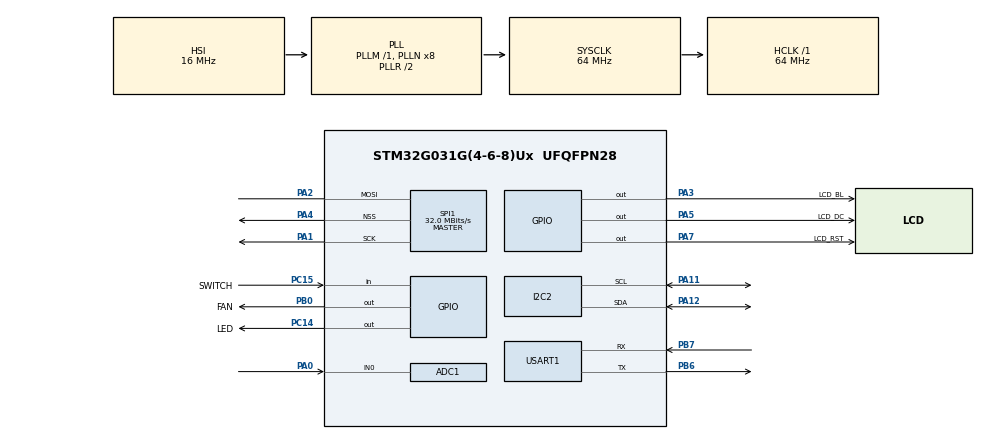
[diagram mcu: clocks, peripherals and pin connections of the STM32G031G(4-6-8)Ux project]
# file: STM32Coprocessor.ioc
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ADC1.Channel-0\#ChannelRegularConversion=ADC_CHANNEL_0
ADC1.ClockPrescaler=ADC_CLOCK_SYNC_PCLK_DIV4
ADC1.NbrOfConversionFlag=1
ADC1.Rank-0\#ChannelRegularConversion=1
ADC1.SamplingTime-0\#ChannelRegularConversion=ADC_SAMPLINGTIME_COMMON_1
ADC1.SamplingTimeCommon1=ADC_SAMPLETIME_160CYCLES_5
ADC1.SamplingTimeCommon2=ADC_SAMPLETIME_160CYCLES_5
ADC1.SelectedChannel=ADC_CHANNEL_0
ADC1.master=1
I2C2.DualAddressMode=I2C_DUALADDRESS_DISABLE
I2C2.OwnAddress=66
I2C2.Timing=0x10B17DB5
Mcu.Family=STM32G0
Mcu.Name=STM32G031G(4-6-8)Ux
Mcu.Package=UFQFPN28
NVIC.I2C2_IRQn=true\:0\:0\:false\:false\:true\:true\:true\:true
NVIC.SPI1_IRQn=true\:0\:0\:false\:false\:true\:true\:true\:true
NVIC.USART1_IRQn=true\:0\:0\:false\:false\:true\:true\:true\:true
PA0.Mode=IN0
PA0.Signal=ADC1_IN0
PA1.GPIO_Speed=GPIO_SPEED_FREQ_VERY_HIGH
PA1.Mode=Simplex_Bidirectional_Master
PA1.Signal=SPI1_SCK
PA11\ [PA9].Mode=I2C
PA11\ [PA9].Signal=I2C2_SCL
PA12\ [PA10].Mode=I2C
PA12\ [PA10].Signal=I2C2_SDA
PA13.Mode=Serial_Wire
PA13.Signal=SYS_SWDIO
PA14-BOOT0.Mode=Serial_Wire
PA14-BOOT0.Signal=SYS_SWCLK
PA2.GPIO_Speed=GPIO_SPEED_FREQ_VERY_HIGH
PA2.Mode=Simplex_Bidirectional_Master
PA2.Signal=SPI1_MOSI
PA3.GPIO_Label=LCD_BL
PA3.GPIO_Speed=GPIO_SPEED_FREQ_MEDIUM
PA3.Signal=GPIO_Output
PA4.GPIO_Speed=GPIO_SPEED_FREQ_VERY_HIGH
PA4.Mode=NSS_Signal_Hard_Output
PA4.Signal=SPI1_NSS
PA5.GPIO_Label=LCD_DC
PA5.GPIO_Speed=GPIO_SPEED_FREQ_MEDIUM
PA5.Signal=GPIO_Output
PA7.GPIO_Label=LCD_RST
PA7.GPIO_Speed=GPIO_SPEED_FREQ_MEDIUM
PA7.Signal=GPIO_Output
PB0.GPIO_Label=FAN
PB0.Signal=GPIO_Output
PB6.Mode=Asynchronous
PB6.Signal=USART1_TX
PB7.Mode=Asynchronous
PB7.Signal=USART1_RX
PC14-OSC32_IN\ (PC14).GPIO_Label=LED
PC14-OSC32_IN\ (PC14).Signal=GPIO_Output
PC15-OSC32_OUT\ (PC15).GPIO_Label=SWITCH
PC15-OSC32_OUT\ (PC15).Signal=GPIO_Input
ProjectManager.HeapSize=0x200
ProjectManager.StackSize=0x400
ProjectManager.TargetToolchain=CMake
RCC.ADCFreq_Value=64000000
RCC.AHBFreq_Value=64000000
RCC.CortexFreq_Value=64000000
RCC.EXTERNAL_CLOCK_VALUE=12288000
RCC.HCLKFreq_Value=64000000
RCC.HSE_VALUE=8000000
RCC.HSI_VALUE=16000000
RCC.LSE_VALUE=32768
RCC.SYSCLKFreq_VALUE=64000000
RCC.SYSCLKSource=RCC_SYSCLKSOURCE_PLLCLK
RCC.VCOOutputFreq_Value=128000000
SPI1.CalculateBaudRate=32.0 MBits/s
SPI1.Direction=SPI_DIRECTION_1LINE
SPI1.Mode=SPI_MODE_MASTER
SPI1.NSSPMode=SPI_NSS_PULSE_ENABLE
SPI1.VirtualNSS=VM_NSSHARD
SPI1.VirtualType=VM_MASTER
USART1.VirtualMode-Asynchronous=VM_ASYNC
board=custom

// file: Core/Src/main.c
/* USER CODE BEGIN Header */
/**
  ******************************************************************************
  * @file           : main.c
  * @brief          : Main program body
  ******************************************************************************
  * @attention
  *
  * Copyright (c) 2025 STMicroelectronics.
  * All rights reserved.
  *
  * This software is licensed under terms that can be found in the LICENSE file
  * in the root directory of this software component.
  * If no LICENSE file comes with this software, it is provided AS-IS.
  *
  ******************************************************************************
  */
/* USER CODE END Header */
#include "main.h"

/* USER CODE BEGIN Includes */
#include "lcd.h"
#include "stm32g0xx_hal.h"
#include "stm32g0xx_hal_gpio.h"
#include "stm32g0xx_hal_i2c.h"
#include "stm32g0xx_hal_uart.h"
#include <stdint.h>

/* USER CODE END Includes */

/* USER CODE BEGIN PD */
#define PACKET_SIZE 8
#define RING_BUFFER_CAPACITY (PACKET_SIZE * 10)
#define HEADER_DATA 0xFF

#define BATTERY_FULL_VOLTAGE 4200
#define BATTERY_EMPTY_VOLTAGE 3500
#define ADC_VREF 3220
#define VOLTAGE_DIVIDER_RATIO 43/33

#define DATA_SOURCE_USART 0x00
#define DATA_SOURCE_I2C 0x01

/* USER CODE END PD */

ADC_HandleTypeDef hadc1;

I2C_HandleTypeDef hi2c2;

SPI_HandleTypeDef hspi1;

UART_HandleTypeDef huart1;

/* USER CODE BEGIN PV */
uint8_t ring_buffer[RING_BUFFER_CAPACITY];
uint16_t ring_buffer_head = 0;
uint16_t ring_buffer_tail = 0;
uint16_t ring_buffer_available = 0;
uint8_t rx_data[PACKET_SIZE];

uint8_t update_display = 0;

uint8_t hr = 0;
uint8_t hrv = 0;
uint8_t pressure = 0;
uint8_t emotion = 0;
uint8_t eyemotion = 0;
uint8_t reliability = 0;
uint8_t battery_level = 0;

uint8_t bootstr[] = "Boot Successful!\n";

uint8_t liney[] = {5, 40, 75, 110, 145, 180};
uint8_t columnx[] = {10, 90, 160, 160};
/* USER CODE END PV */

void SystemClock_Config(void);
static void MX_GPIO_Init(void);
static void MX_SPI1_Init(void);
static void MX_USART1_UART_Init(void);
static void MX_ADC1_Init(void);
static void MX_I2C2_Init(void);
/* USER CODE BEGIN PFP */
void Test_Perips(void);
void System_Init(void);
void Draw_UI(void);
void HandleRXData(uint8_t *rxdata, uint8_t data_source);
void Update_Display(void);
uint8_t Read_Battery_Level(void);
void Enter_Sleep_Mode(void);
void Exit_Sleep_Mode(void);

/* USER CODE END PFP */

int main(void)
{

  /* MCU Configuration--------------------------------------------------------*/

  /* Reset of all peripherals, Initializes the Flash interface and the Systick. */
  HAL_Init();

  /* Configure the system clock */
  SystemClock_Config();

  /* Initialize all configured peripherals */
  MX_GPIO_Init();
  MX_SPI1_Init();
  MX_USART1_UART_Init();
  MX_ADC1_Init();
  MX_I2C2_Init();
  /* USER CODE BEGIN 2 */
  Test_Perips();
  System_Init();
  /* USER CODE END 2 */

  /* Infinite loop */
  while (1)
  {

    /* USER CODE BEGIN 3 */
    if (update_display) {
      HAL_GPIO_WritePin(LED_GPIO_Port, LED_Pin, GPIO_PIN_RESET);
      Update_Display();
      HAL_GPIO_WritePin(LED_GPIO_Port, LED_Pin, GPIO_PIN_SET);
      update_display = 0;
    }
  }
  /* USER CODE END 3 */
}

void SystemClock_Config(void)
{
  RCC_OscInitTypeDef RCC_OscInitStruct = {0};
  RCC_ClkInitTypeDef RCC_ClkInitStruct = {0};

  /** Configure the main internal regulator output voltage
  */
  HAL_PWREx_ControlVoltageScaling(PWR_REGULATOR_VOLTAGE_SCALE1);

  /** Initializes the RCC Oscillators according to the specified parameters
  * in the RCC_OscInitTypeDef structure.
  */
  RCC_OscInitStruct.OscillatorType = RCC_OSCILLATORTYPE_HSI;
  RCC_OscInitStruct.HSIState = RCC_HSI_ON;
  RCC_OscInitStruct.HSIDiv = RCC_HSI_DIV1;
  RCC_OscInitStruct.HSICalibrationValue = RCC_HSICALIBRATION_DEFAULT;
  RCC_OscInitStruct.PLL.PLLState = RCC_PLL_ON;
  RCC_OscInitStruct.PLL.PLLSource = RCC_PLLSOURCE_HSI;
  RCC_OscInitStruct.PLL.PLLM = RCC_PLLM_DIV1;
  RCC_OscInitStruct.PLL.PLLN = 8;
  RCC_OscInitStruct.PLL.PLLP = RCC_PLLP_DIV2;
  RCC_OscInitStruct.PLL.PLLQ = RCC_PLLQ_DIV2;
  RCC_OscInitStruct.PLL.PLLR = RCC_PLLR_DIV2;
  if (HAL_RCC_OscConfig(&RCC_OscInitStruct) != HAL_OK)
  {
    Error_Handler();
  }

  /** Initializes the CPU, AHB and APB buses clocks
  */
  RCC_ClkInitStruct.ClockType = RCC_CLOCKTYPE_HCLK|RCC_CLOCKTYPE_SYSCLK
                              |RCC_CLOCKTYPE_PCLK1;
  RCC_ClkInitStruct.SYSCLKSource = RCC_SYSCLKSOURCE_PLLCLK;
  RCC_ClkInitStruct.AHBCLKDivider = RCC_SYSCLK_DIV1;
  RCC_ClkInitStruct.APB1CLKDivider = RCC_HCLK_DIV1;

  if (HAL_RCC_ClockConfig(&RCC_ClkInitStruct, FLASH_LATENCY_2) != HAL_OK)
  {
    Error_Handler();
  }
}

static void MX_ADC1_Init(void)
{

  ADC_ChannelConfTypeDef sConfig = {0};

  /** Configure the global features of the ADC (Clock, Resolution, Data Alignment and number of conversion)
  */
  hadc1.Instance = ADC1;
  hadc1.Init.ClockPrescaler = ADC_CLOCK_SYNC_PCLK_DIV4;
  hadc1.Init.Resolution = ADC_RESOLUTION_12B;
  hadc1.Init.DataAlign = ADC_DATAALIGN_RIGHT;
  hadc1.Init.ScanConvMode = ADC_SCAN_DISABLE;
  hadc1.Init.EOCSelection = ADC_EOC_SINGLE_CONV;
  hadc1.Init.LowPowerAutoWait = DISABLE;
  hadc1.Init.LowPowerAutoPowerOff = DISABLE;
  hadc1.Init.ContinuousConvMode = DISABLE;
  hadc1.Init.NbrOfConversion = 1;
  hadc1.Init.DiscontinuousConvMode = DISABLE;
  hadc1.Init.ExternalTrigConv = ADC_SOFTWARE_START;
  hadc1.Init.ExternalTrigConvEdge = ADC_EXTERNALTRIGCONVEDGE_NONE;
  hadc1.Init.DMAContinuousRequests = DISABLE;
  hadc1.Init.Overrun = ADC_OVR_DATA_PRESERVED;
  hadc1.Init.SamplingTimeCommon1 = ADC_SAMPLETIME_160CYCLES_5;
  hadc1.Init.SamplingTimeCommon2 = ADC_SAMPLETIME_160CYCLES_5;
  hadc1.Init.OversamplingMode = DISABLE;
  hadc1.Init.TriggerFrequencyMode = ADC_TRIGGER_FREQ_HIGH;
  if (HAL_ADC_Init(&hadc1) != HAL_OK)
  {
    Error_Handler();
  }

  /** Configure Regular Channel
  */
  sConfig.Channel = ADC_CHANNEL_0;
  sConfig.Rank = ADC_REGULAR_RANK_1;
  sConfig.SamplingTime = ADC_SAMPLINGTIME_COMMON_1;
  if (HAL_ADC_ConfigChannel(&hadc1, &sConfig) != HAL_OK)
  {
    Error_Handler();
  }

}

static void MX_I2C2_Init(void)
{

  hi2c2.Instance = I2C2;
  hi2c2.Init.Timing = 0x10B17DB5;
  hi2c2.Init.OwnAddress1 = 132;
  hi2c2.Init.AddressingMode = I2C_ADDRESSINGMODE_7BIT;
  hi2c2.Init.DualAddressMode = I2C_DUALADDRESS_DISABLE;
  hi2c2.Init.OwnAddress2 = 0;
  hi2c2.Init.OwnAddress2Masks = I2C_OA2_NOMASK;
  hi2c2.Init.GeneralCallMode = I2C_GENERALCALL_DISABLE;
  hi2c2.Init.NoStretchMode = I2C_NOSTRETCH_DISABLE;
  if (HAL_I2C_Init(&hi2c2) != HAL_OK)
  {
    Error_Handler();
  }

  /** Configure Analogue filter
  */
  if (HAL_I2CEx_ConfigAnalogFilter(&hi2c2, I2C_ANALOGFILTER_ENABLE) != HAL_OK)
  {
    Error_Handler();
  }

  /** Configure Digital filter
  */
  if (HAL_I2CEx_ConfigDigitalFilter(&hi2c2, 0) != HAL_OK)
  {
    Error_Handler();
  }

}

static void MX_SPI1_Init(void)
{

  /* SPI1 parameter configuration*/
  hspi1.Instance = SPI1;
  hspi1.Init.Mode = SPI_MODE_MASTER;
  hspi1.Init.Direction = SPI_DIRECTION_1LINE;
  hspi1.Init.DataSize = SPI_DATASIZE_8BIT;
  hspi1.Init.CLKPolarity = SPI_POLARITY_LOW;
  hspi1.Init.CLKPhase = SPI_PHASE_1EDGE;
  hspi1.Init.NSS = SPI_NSS_HARD_OUTPUT;
  hspi1.Init.BaudRatePrescaler = SPI_BAUDRATEPRESCALER_2;
  hspi1.Init.FirstBit = SPI_FIRSTBIT_MSB;
  hspi1.Init.TIMode = SPI_TIMODE_DISABLE;
  hspi1.Init.CRCCalculation = SPI_CRCCALCULATION_DISABLE;
  hspi1.Init.CRCPolynomial = 7;
  hspi1.Init.CRCLength = SPI_CRC_LENGTH_DATASIZE;
  hspi1.Init.NSSPMode = SPI_NSS_PULSE_ENABLE;
  if (HAL_SPI_Init(&hspi1) != HAL_OK)
  {
    Error_Handler();
  }

}

static void MX_USART1_UART_Init(void)
{

  huart1.Instance = USART1;
  huart1.Init.BaudRate = 115200;
  huart1.Init.WordLength = UART_WORDLENGTH_8B;
  huart1.Init.StopBits = UART_STOPBITS_1;
  huart1.Init.Parity = UART_PARITY_NONE;
  huart1.Init.Mode = UART_MODE_TX_RX;
  huart1.Init.HwFlowCtl = UART_HWCONTROL_NONE;
  huart1.Init.OverSampling = UART_OVERSAMPLING_16;
  huart1.Init.OneBitSampling = UART_ONE_BIT_SAMPLE_DISABLE;
  huart1.Init.ClockPrescaler = UART_PRESCALER_DIV1;
  huart1.AdvancedInit.AdvFeatureInit = UART_ADVFEATURE_NO_INIT;
  if (HAL_UART_Init(&huart1) != HAL_OK)
  {
    Error_Handler();
  }
  if (HAL_UARTEx_SetTxFifoThreshold(&huart1, UART_TXFIFO_THRESHOLD_1_8) != HAL_OK)
  {
    Error_Handler();
  }
  if (HAL_UARTEx_SetRxFifoThreshold(&huart1, UART_RXFIFO_THRESHOLD_1_8) != HAL_OK)
  {
    Error_Handler();
  }
  if (HAL_UARTEx_DisableFifoMode(&huart1) != HAL_OK)
  {
    Error_Handler();
  }

}

static void MX_GPIO_Init(void)
{
  GPIO_InitTypeDef GPIO_InitStruct = {0};

  /* GPIO Ports Clock Enable */
  __HAL_RCC_GPIOC_CLK_ENABLE();
  __HAL_RCC_GPIOA_CLK_ENABLE();
  __HAL_RCC_GPIOB_CLK_ENABLE();

  /*Configure GPIO pin Output Level */
  HAL_GPIO_WritePin(LED_GPIO_Port, LED_Pin, GPIO_PIN_RESET);

  /*Configure GPIO pin Output Level */
  HAL_GPIO_WritePin(GPIOA, LCD_BL_Pin|LCD_DC_Pin|LCD_RST_Pin, GPIO_PIN_RESET);

  /*Configure GPIO pin Output Level */
  HAL_GPIO_WritePin(FAN_GPIO_Port, FAN_Pin, GPIO_PIN_RESET);

  /*Configure GPIO pin : LED_Pin */
  GPIO_InitStruct.Pin = LED_Pin;
  GPIO_InitStruct.Mode = GPIO_MODE_OUTPUT_PP;
  GPIO_InitStruct.Pull = GPIO_NOPULL;
  GPIO_InitStruct.Speed = GPIO_SPEED_FREQ_LOW;
  HAL_GPIO_Init(LED_GPIO_Port, &GPIO_InitStruct);

  /*Configure GPIO pin : SWITCH_Pin */
  GPIO_InitStruct.Pin = SWITCH_Pin;
  GPIO_InitStruct.Mode = GPIO_MODE_INPUT;
  GPIO_InitStruct.Pull = GPIO_NOPULL;
  HAL_GPIO_Init(SWITCH_GPIO_Port, &GPIO_InitStruct);

  /*Configure GPIO pins : LCD_BL_Pin LCD_DC_Pin LCD_RST_Pin */
  GPIO_InitStruct.Pin = LCD_BL_Pin|LCD_DC_Pin|LCD_RST_Pin;
  GPIO_InitStruct.Mode = GPIO_MODE_OUTPUT_PP;
  GPIO_InitStruct.Pull = GPIO_NOPULL;
  GPIO_InitStruct.Speed = GPIO_SPEED_FREQ_MEDIUM;
  HAL_GPIO_Init(GPIOA, &GPIO_InitStruct);

  /*Configure GPIO pin : FAN_Pin */
  GPIO_InitStruct.Pin = FAN_Pin;
  GPIO_InitStruct.Mode = GPIO_MODE_OUTPUT_PP;
  GPIO_InitStruct.Pull = GPIO_NOPULL;
  GPIO_InitStruct.Speed = GPIO_SPEED_FREQ_LOW;
  HAL_GPIO_Init(FAN_GPIO_Port, &GPIO_InitStruct);

}

/* USER CODE BEGIN 4 */
void System_Init(void) {
  LCD_Init();
  LCD_Fill(0, 0, 240, 320, LCD_COLOR_BLACK);
  LCD_BL_SET();

  Draw_UI();

  HAL_UART_Receive_IT(&huart1, rx_data, 1);
  HAL_UART_Transmit_IT(&huart1, bootstr, sizeof(bootstr));

  HAL_I2C_Slave_Receive_IT(&hi2c2, rx_data, PACKET_SIZE);
}

/**
  * @brief  Draw the main UI elements
  * @retval None
  */
void Draw_UI(void) {
  uint8_t hr_header[] = "����";
  uint8_t hrv_header[] = "HRV";
  uint8_t pressure_header[] = "ѹ��";
  uint8_t emotion_header[] = "����";
  uint8_t eyemotion_header[] = "�۶�";
  uint8_t reliability_header[] = "���Ŷ�";

  uint8_t bpm_str[] = "BPM";
  uint8_t ms_str[] = "ms";

  LCD_ShowChinese(columnx[0], liney[0], hr_header, LCD_COLOR_WHITE, LCD_COLOR_BLACK, 32, 1);
  LCD_ShowString(columnx[0], liney[1], hrv_header, LCD_COLOR_WHITE, LCD_COLOR_BLACK, 32, 1);
  LCD_ShowChinese(columnx[0], liney[2], pressure_header, LCD_COLOR_WHITE, LCD_COLOR_BLACK, 32, 1);
  LCD_ShowChinese(columnx[0], liney[3], emotion_header, LCD_COLOR_WHITE, LCD_COLOR_BLACK, 32, 1);
  //LCD_ShowChinese(columnx[0], liney[4], eyemotion_header, LCD_COLOR_WHITE, LCD_COLOR_BLACK, 32, 1);
  LCD_ShowChinese(columnx[0], liney[4], reliability_header, LCD_COLOR_WHITE, LCD_COLOR_BLACK, 32, 1);

  LCD_ShowString(columnx[3], liney[0], bpm_str, LCD_COLOR_WHITE, LCD_COLOR_BLACK, 32, 1);
  LCD_ShowString(columnx[3], liney[1], ms_str, LCD_COLOR_WHITE, LCD_COLOR_BLACK, 32, 1);
}

void Ring_Buffer_Push(uint8_t *buffer, uint16_t *head, uint8_t data) {
  buffer[*head] = data;
  *head = (*head + 1) % RING_BUFFER_CAPACITY;
  ring_buffer_available++;
}

uint8_t Ring_Buffer_Pop(uint8_t *buffer, uint16_t *tail, uint8_t *data) {
  *data = buffer[*tail];
  *tail = (*tail + 1) % RING_BUFFER_CAPACITY;
  ring_buffer_available--;
  return *data;
}

void HandleRXData(uint8_t *packet, uint8_t data_source) {
  if(data_source == DATA_SOURCE_USART) {
    Ring_Buffer_Push(ring_buffer, &ring_buffer_head, packet[0]);
  }
  else if(data_source == DATA_SOURCE_I2C) {
    for (uint8_t i = 0; i < PACKET_SIZE; i++) {
      Ring_Buffer_Push(ring_buffer, &ring_buffer_head, packet[i]);
    }
  }

  while (ring_buffer_available >= PACKET_SIZE) {
    uint8_t temp_packet[PACKET_SIZE];
    Ring_Buffer_Pop(ring_buffer, &ring_buffer_tail, &temp_packet[0]);

    if (temp_packet[0] == HEADER_DATA) {
      Ring_Buffer_Pop(ring_buffer, &ring_buffer_tail, &temp_packet[1]);
      if (temp_packet[1] == HEADER_DATA) {
        for (uint8_t i = 2; i < PACKET_SIZE; i++) {
          Ring_Buffer_Pop(ring_buffer, &ring_buffer_tail, &temp_packet[i]);
        }
        hr = temp_packet[2];
        hrv = temp_packet[3];
        pressure = temp_packet[4];
        emotion = temp_packet[5];
        eyemotion = temp_packet[6];
        reliability = temp_packet[7];
        update_display = 1;
        battery_level = Read_Battery_Level();
        HAL_UART_Transmit(&huart1, &battery_level, 1, 100);
      }
    }
  }
}

void Update_Display(void) {
  uint8_t *pressure_strs[4] = {"��", "��", "��", "��"};
  uint8_t *emotion_strs[9] = {"��ŭ", "����", "���", "�־�", "����", "����", "����", "����", "δ֪"};
  uint8_t *eyemotion_strs[9] = {"��", "�I", "��", "�J", "��", "�K", "��", "�L", "��"};
  uint8_t square_char[] = "��";

  LCD_ShowIntNum(columnx[1], liney[0], hr, 3, LCD_COLOR_WHITE, LCD_COLOR_BLACK, 32);
  LCD_ShowIntNum(columnx[1], liney[1], hrv, 3, LCD_COLOR_WHITE, LCD_COLOR_BLACK, 32);
  if  (pressure > 3) pressure = 3;
  LCD_ShowChinese(columnx[2], liney[2], pressure_strs[pressure], LCD_COLOR_WHITE,
                  LCD_COLOR_BLACK, 32, 0);
  if (emotion > 8) emotion = 8;
  LCD_ShowChinese(columnx[2], liney[3], emotion_strs[emotion], LCD_COLOR_WHITE,
                  LCD_COLOR_BLACK, 32, 0);
  //if (eyemotion > 8) eyemotion = 8;
  //LCD_ShowChinese(columnx[2], liney[4], eyemotion_strs[eyemotion], LCD_COLOR_WHITE, LCD_COLOR_BLACK, 32, 0);

  switch (reliability) {
    case 0:
      LCD_ShowChinese(columnx[2], liney[4], square_char, LCD_COLOR_GREEN, LCD_COLOR_BLACK, 32, 0);
      break;
    case 1:
      LCD_ShowChinese(columnx[2], liney[4], square_char, LCD_COLOR_YELLOW, LCD_COLOR_BLACK, 32, 0);
      break;
    case 2:
      LCD_ShowChinese(columnx[2], liney[4], square_char, LCD_COLOR_RED, LCD_COLOR_BLACK, 32, 0);
      break;
    default:
      LCD_ShowChinese(columnx[2], liney[4], square_char, LCD_COLOR_WHITE, LCD_COLOR_BLACK, 32, 0);
      break;
  }
}

uint8_t Read_Battery_Level(void) {
  uint32_t adc_value = 0;
  uint32_t battery_voltage;
  uint8_t battery_percentage;
  HAL_ADC_Start(&hadc1);
  if (HAL_ADC_PollForConversion(&hadc1, 100) == HAL_OK) {
    adc_value = HAL_ADC_GetValue(&hadc1);
  }
  HAL_ADC_Stop(&hadc1);

  battery_voltage = (adc_value * ADC_VREF * 43) / (4095 * 33);

  if (battery_voltage >= BATTERY_FULL_VOLTAGE) {
    battery_percentage = 100;
  } else if (battery_voltage <= BATTERY_EMPTY_VOLTAGE) {
    battery_percentage = 0;
  } else {
    battery_percentage = (uint8_t)(((battery_voltage - BATTERY_EMPTY_VOLTAGE) * 100) /
                                   (BATTERY_FULL_VOLTAGE - BATTERY_EMPTY_VOLTAGE));
  }

  return battery_percentage;
}

void HAL_UART_RxCpltCallback(UART_HandleTypeDef *huart) {
  if (huart->Instance == USART1) {
    HandleRXData(rx_data, DATA_SOURCE_USART);
    HAL_UART_Receive_IT(&huart1, rx_data, 1);
  }
}

void HAL_UART_ErrorCallback(UART_HandleTypeDef *huart) {
  if (huart->Instance == USART1) {
    __HAL_UART_CLEAR_OREFLAG(huart);
    HAL_UART_AbortReceive_IT(huart);
    HAL_UART_Receive_IT(huart, rx_data, 1);
    HAL_GPIO_WritePin(LED_GPIO_Port, LED_Pin, GPIO_PIN_RESET);
  }
}

void HAL_I2C_SlaveRxCpltCallback(I2C_HandleTypeDef *hi2c) {
  if (hi2c->Instance == I2C2) {
    HandleRXData(rx_data, DATA_SOURCE_I2C);
    HAL_I2C_Slave_Receive_IT(hi2c, rx_data, PACKET_SIZE);
  }
}

void HAL_I2C_ErrorCallback(I2C_HandleTypeDef *hi2c) {
  if (hi2c->Instance == I2C2) {
    __HAL_I2C_CLEAR_FLAG(hi2c, I2C_FLAG_BERR);
    HAL_I2C_Slave_Receive_IT(hi2c, rx_data, PACKET_SIZE);
    HAL_GPIO_WritePin(LED_GPIO_Port, LED_Pin, GPIO_PIN_RESET);
  }
}

void Test_Perips(void) {
  for(int i = 0; i < 5; i++) {
    HAL_GPIO_TogglePin(LED_GPIO_Port, LED_Pin);
    HAL_Delay(200);
  }
  HAL_GPIO_WritePin(FAN_GPIO_Port, FAN_Pin, GPIO_PIN_RESET);
  HAL_Delay(200);
  HAL_GPIO_WritePin(FAN_GPIO_Port, FAN_Pin, GPIO_PIN_SET);
}

/* USER CODE END 4 */

void Error_Handler(void)
{
  __disable_irq();
  while (1)
  {
  }
}
